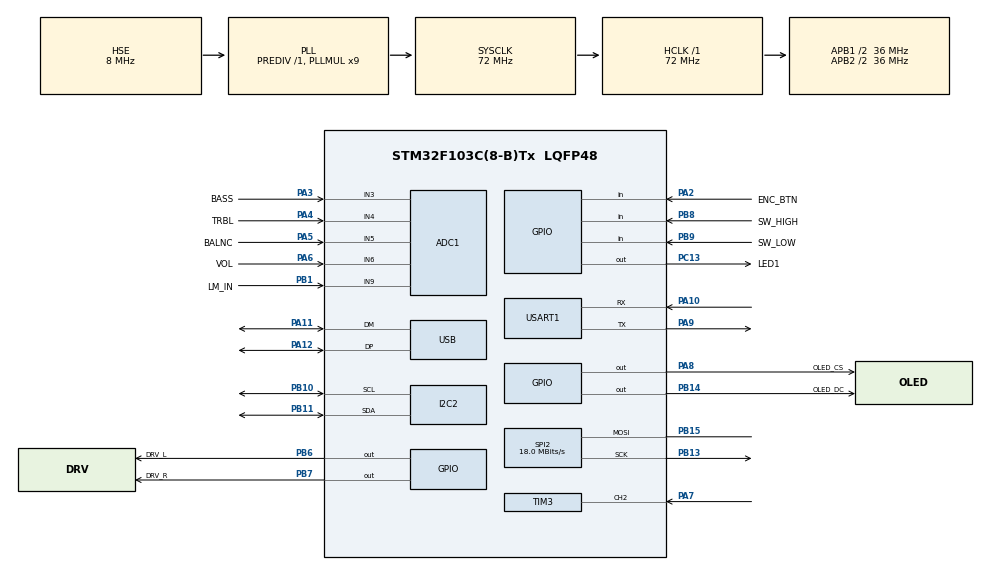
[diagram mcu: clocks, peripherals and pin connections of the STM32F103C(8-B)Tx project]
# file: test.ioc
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ADC1.Channel-0\#ChannelRegularConversion=ADC_CHANNEL_3
ADC1.Channel-1\#ChannelRegularConversion=ADC_CHANNEL_4
ADC1.Channel-2\#ChannelRegularConversion=ADC_CHANNEL_5
ADC1.Channel-3\#ChannelRegularConversion=ADC_CHANNEL_6
ADC1.Channel-4\#ChannelRegularConversion=ADC_CHANNEL_9
ADC1.ContinuousConvMode=ENABLE
ADC1.NbrOfConversion=5
ADC1.NbrOfConversionFlag=1
ADC1.Rank-0\#ChannelRegularConversion=1
ADC1.Rank-1\#ChannelRegularConversion=2
ADC1.Rank-2\#ChannelRegularConversion=3
ADC1.Rank-3\#ChannelRegularConversion=4
ADC1.Rank-4\#ChannelRegularConversion=5
ADC1.SamplingTime-0\#ChannelRegularConversion=ADC_SAMPLETIME_1CYCLE_5
ADC1.SamplingTime-1\#ChannelRegularConversion=ADC_SAMPLETIME_1CYCLE_5
ADC1.SamplingTime-2\#ChannelRegularConversion=ADC_SAMPLETIME_1CYCLE_5
ADC1.SamplingTime-3\#ChannelRegularConversion=ADC_SAMPLETIME_1CYCLE_5
ADC1.SamplingTime-4\#ChannelRegularConversion=ADC_SAMPLETIME_1CYCLE_5
ADC1.master=1
Dma.ADC1.0.Direction=DMA_PERIPH_TO_MEMORY
Dma.ADC1.0.Instance=DMA1_Channel1
Dma.ADC1.0.MemDataAlignment=DMA_MDATAALIGN_HALFWORD
Dma.ADC1.0.MemInc=DMA_MINC_ENABLE
Dma.ADC1.0.Mode=DMA_CIRCULAR
Dma.ADC1.0.PeriphDataAlignment=DMA_PDATAALIGN_HALFWORD
Dma.ADC1.0.PeriphInc=DMA_PINC_DISABLE
Dma.ADC1.0.Priority=DMA_PRIORITY_LOW
Dma.Request0=ADC1
Mcu.Family=STM32F1
Mcu.Name=STM32F103C(8-B)Tx
Mcu.Package=LQFP48
NVIC.DMA1_Channel1_IRQn=true\:0\:0\:false\:false\:true\:false\:true\:true
NVIC.PriorityGroup=NVIC_PRIORITYGROUP_4
NVIC.USB_LP_CAN1_RX0_IRQn=true\:0\:0\:false\:false\:true\:false\:true\:true
PA10.Mode=Asynchronous
PA10.Signal=USART1_RX
PA11.Mode=Device
PA11.Signal=USB_DM
PA12.Mode=Device
PA12.Signal=USB_DP
PA2.GPIO_Label=ENC_BTN
PA2.Signal=GPIO_Input
PA3.GPIO_Label=BASS
PA3.Signal=ADCx_IN3
PA4.GPIO_Label=TRBL
PA4.Signal=ADCx_IN4
PA5.GPIO_Label=BALNC
PA5.Signal=ADCx_IN5
PA6.GPIO_Label=VOL
PA6.Signal=ADCx_IN6
PA7.Signal=S_TIM3_CH2
PA8.GPIO_Label=OLED_CS
PA8.Signal=GPIO_Output
PA9.Mode=Asynchronous
PA9.Signal=USART1_TX
PB1.GPIO_Label=LM_IN
PB1.Signal=ADCx_IN9
PB10.Mode=I2C
PB10.Signal=I2C2_SCL
PB11.Mode=I2C
PB11.Signal=I2C2_SDA
PB13.Mode=Simplex_Bidirectional_Master
PB13.Signal=SPI2_SCK
PB14.GPIO_Label=OLED_DC
PB14.Signal=GPIO_Output
PB15.Mode=Simplex_Bidirectional_Master
PB15.Signal=SPI2_MOSI
PB6.GPIO_Label=DRV_L
PB6.Signal=GPIO_Output
PB7.GPIO_Label=DRV_R
PB7.Signal=GPIO_Output
PB8.GPIO_Label=SW_HIGH
PB8.Signal=GPIO_Input
PB9.GPIO_Label=SW_LOW
PB9.Signal=GPIO_Input
PC13-TAMPER-RTC.GPIO_Label=LED1
PC13-TAMPER-RTC.Signal=GPIO_Output
PC14-OSC32_IN.Mode=LSE-External-Oscillator
PC14-OSC32_IN.Signal=RCC_OSC32_IN
PC15-OSC32_OUT.Mode=LSE-External-Oscillator
PC15-OSC32_OUT.Signal=RCC_OSC32_OUT
PD0-OSC_IN.Mode=HSE-External-Oscillator
PD0-OSC_IN.Signal=RCC_OSC_IN
PD1-OSC_OUT.Mode=HSE-External-Oscillator
PD1-OSC_OUT.Signal=RCC_OSC_OUT
ProjectManager.HeapSize=0x200
ProjectManager.StackSize=0x400
ProjectManager.TargetToolchain=STM32CubeIDE
RCC.ADCPresc=RCC_ADCPCLK2_DIV6
RCC.AHBFreq_Value=72000000
RCC.APB1CLKDivider=RCC_HCLK_DIV2
RCC.APB1Freq_Value=36000000
RCC.APB1TimFreq_Value=72000000
RCC.APB2CLKDivider=RCC_HCLK_DIV2
RCC.APB2Freq_Value=36000000
RCC.APB2TimFreq_Value=72000000
RCC.DATA_CACHE_ENABLE=1
RCC.HCLKFreq_Value=72000000
RCC.INSTRUCTION_CACHE_ENABLE=1
RCC.PLLMUL=RCC_PLL_MUL9
RCC.PLLSourceVirtual=RCC_PLLSOURCE_HSE
RCC.PWR_Regulator_Voltage_Scale=PWR_REGULATOR_VOLTAGE_SCALE1
RCC.SYSCLKFreq_VALUE=72000000
RCC.SYSCLKSource=RCC_SYSCLKSOURCE_PLLCLK
RCC.USBFreq_Value=48000000
RCC.USBPrescaler=RCC_USBCLKSOURCE_PLL_DIV1_5
RTC.Hours=13
RTC.Year=40
SH.ADCx_IN3.0=ADC1_IN3,IN3
SH.ADCx_IN4.0=ADC1_IN4,IN4
SH.ADCx_IN5.0=ADC1_IN5,IN5
SH.ADCx_IN6.0=ADC1_IN6,IN6
SH.ADCx_IN9.0=ADC1_IN9,IN9
SH.S_TIM3_CH2.0=TIM3_CH2,Input_Capture2_from_TI2
SPI2.BaudRatePrescaler=SPI_BAUDRATEPRESCALER_2
SPI2.CalculateBaudRate=18.0 MBits/s
SPI2.Direction=SPI_DIRECTION_1LINE
SPI2.Mode=SPI_MODE_MASTER
SPI2.VirtualType=VM_MASTER
TIM3.Channel-Input_Capture2_from_TI2=TIM_CHANNEL_2
USART1.VirtualMode=VM_ASYNC
USB_DEVICE.CLASS_NAME_FS=CDC
USB_DEVICE.VirtualMode=Cdc
USB_DEVICE.VirtualModeFS=Cdc_FS
VP_RTC_VS_RTC_Activate.Mode=RTC_Enabled
VP_RTC_VS_RTC_Calendar.Mode=RTC_Calendar
VP_TIM3_VS_ClockSourceINT.Mode=Internal
VP_USB_DEVICE_VS_USB_DEVICE_CDC_FS.Mode=CDC_FS
board=custom

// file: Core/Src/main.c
/* USER CODE BEGIN Header */
/**
  ******************************************************************************
  * @file           : main.c
  * @brief          : Main program body
  ******************************************************************************
  * @attention
  *
  * Copyright (c) 2022 STMicroelectronics.
  * All rights reserved.
  *
  * This software is licensed under terms that can be found in the LICENSE file
  * in the root directory of this software component.
  * If no LICENSE file comes with this software, it is provided AS-IS.
  *
  ******************************************************************************
  */
/* USER CODE END Header */
#include "main.h"
#include "usb_device.h"

/* USER CODE BEGIN Includes */
#include <stdio.h>
#include <stdlib.h>
#include "u8g2/clib/u8g2.h"
#include "Audio_256x64.h"

extern uint8_t u8x8_stm32_gpio_and_delay( u8x8_t *u8x8, uint8_t msg, uint8_t arg_int, void *arg_ptr );
extern uint8_t u8x8_byte_stm32_hw_spi( u8x8_t *u8x8, uint8_t msg, uint8_t arg_int, void *arg_ptr );
extern uint8_t u8x8_byte_stm32_hw_i2c( u8x8_t *u8x8, uint8_t msg, uint8_t arg_int, void *arg_ptr );

/* USER CODE END Includes */

/* USER CODE BEGIN PTD */
struct adc_t
{
    uint16_t bass;
    uint16_t trbl;
    uint16_t balc;
    uint16_t volume;
    uint16_t lm_in;
};

volatile struct adc_t adcVal;
/* USER CODE END PTD */

/* USER CODE BEGIN PD */
#define TSA_MIX

#ifdef DB37XX
#define VOL_MIN -80
#define VOL_MAX 15
#define BASS_MIN -20
#define BASS_MAX 20
#define TRBL_MIN -20
#define TRBL_MAX 20
#endif

#ifdef TSA_MIX
#define VOL_MIN -31
#define VOL_MAX 20
#define BASS_MIN -18
#define BASS_MAX 18
#define TRBL_MIN -12
#define TRBL_MAX 12
#endif
/* USER CODE END PD */

ADC_HandleTypeDef hadc1;
DMA_HandleTypeDef hdma_adc1;

I2C_HandleTypeDef hi2c2;

RTC_HandleTypeDef hrtc;

SPI_HandleTypeDef hspi2;

TIM_HandleTypeDef htim3;

UART_HandleTypeDef huart1;

void SystemClock_Config(void);
static void MX_GPIO_Init(void);
static void MX_DMA_Init(void);
static void MX_SPI2_Init(void);
static void MX_USART1_UART_Init(void);
static void MX_ADC1_Init(void);
static void MX_I2C2_Init(void);
static void MX_RTC_Init(void);
static void MX_TIM3_Init(void);

/* USER CODE BEGIN 0 */
int prescaler( long min1, long max1, long min2, long max2, int val ){
    return min2+ (val-min1)* (max2-min2)/ (max1-min1);
}
/* USER CODE END 0 */

int main(void)
{
  /* USER CODE BEGIN 1 */
    uint16_t inc=0;
    char data[20];
//    int Volume=prescaler(0, 2800, VOL_MIN, VOL_MAX, adcVal.volume);
    adcVal.volume =9999;
    RTC_TimeTypeDef sTime={ 0 };
  /* USER CODE END 1 */

  /* MCU Configuration--------------------------------------------------------*/

  /* Reset of all peripherals, Initializes the Flash interface and the Systick. */
  HAL_Init();

  /* Configure the system clock */
  SystemClock_Config();

  /* Initialize all configured peripherals */
  MX_GPIO_Init();
  MX_DMA_Init();
  MX_SPI2_Init();
  MX_USART1_UART_Init();
  MX_ADC1_Init();
  MX_I2C2_Init();
  MX_RTC_Init();
  MX_TIM3_Init();
  MX_USB_DEVICE_Init();
  /* USER CODE BEGIN 2 */
  hdma_adc1.Instance = DMA1_Channel1;
    hdma_adc1.Init.Direction = DMA_PERIPH_TO_MEMORY;
    hdma_adc1.Init.PeriphInc = DMA_PINC_DISABLE;
    hdma_adc1.Init.MemInc = DMA_MINC_ENABLE;
    hdma_adc1.Init.PeriphDataAlignment = DMA_PDATAALIGN_HALFWORD;
    hdma_adc1.Init.MemDataAlignment = DMA_MDATAALIGN_HALFWORD;
    hdma_adc1.Init.Mode = DMA_CIRCULAR;
    hdma_adc1.Init.Priority = DMA_PRIORITY_MEDIUM;
    HAL_DMA_Init(&hdma_adc1);
    __HAL_LINKDMA(&hadc1, DMA_Handle, hdma_adc1);

    HAL_ADCEx_Calibration_Start(&hadc1);
    HAL_ADC_Start_DMA(&hadc1, (uint32_t*)&adcVal, sizeof (adcVal)/sizeof(uint16_t));
//    HAL_ADC_Start(&hadc1);

//    HAL_TIM_Encoder_Start(&htim2, TIM_CHANNEL_ALL);
//    htim2.Instance->CNT=0;

  u8g2_t u8g2;
  u8g2_Setup_ssd1322_nhd_256x64_f(&u8g2, U8G2_R0, u8x8_byte_stm32_hw_spi, u8x8_stm32_gpio_and_delay);
      u8g2_InitDisplay(&u8g2);
      u8g2_ClearDisplay(&u8g2);
      u8g2_SetPowerSave(&u8g2, 0);
  /* USER CODE END 2 */

  /* Infinite loop */
  /* USER CODE BEGIN WHILE */
  while (1)
  {

    HAL_GPIO_WritePin(DRV_L_GPIO_Port, DRV_L_Pin, !HAL_GPIO_ReadPin(SW_LOW_GPIO_Port, SW_LOW_Pin));
    HAL_GPIO_WritePin(DRV_R_GPIO_Port, DRV_R_Pin, !HAL_GPIO_ReadPin(SW_HIGH_GPIO_Port, SW_HIGH_Pin));
//    HAL_Delay(20);
    if (!(inc++ %500)){
        HAL_GPIO_TogglePin(LED1_GPIO_Port, LED1_Pin);
    }

//    if (HAL_ADC_PollForConversion(&hadc1, 10) == HAL_OK) {
//        adcVal.volume  = HAL_ADC_GetValue(&hadc1);
//        HAL_ADC_Start(&hadc1);
//    }else
//        adcVal.volume = 6666;
    u8g2_FirstPage(&u8g2);
    do{
        u8g2_ClearBuffer(&u8g2);
        u8g2_SetBitmapMode(&u8g2, 2);
        //u8g2_SetDrawColor(&u8g2, 1);
        if(GPIO_PIN_RESET==HAL_GPIO_ReadPin(ENC_BTN_GPIO_Port, ENC_BTN_Pin)){
            u8g2_DrawXBM(&u8g2, 0, 0, Audio_256x64_width, Audio_256x64_height, (const uint8_t*)&Audio_256x64_bits);
        }
        u8g2_SetFont(&u8g2, u8g2_font_VCR_OSD_tf);

//        Volume=prescaler(0, 2800, VOL_MIN, VOL_MAX, adcVal.volume);
//        sprintf(data, "VOL=%+ddB", Volume);
        sprintf(data, "V=%d", adcVal.volume);
        u8g2_DrawStr(&u8g2, 28, 64, data);

//        sprintf(data, "BASS=%+ddB", prescaler(0, 3850, BASS_MAX, BASS_MIN, adcVal.bass));
        sprintf(data, "BASS=%+ddB", adcVal.bass);
        u8g2_DrawStr(&u8g2, 0, 48, data);
        sprintf(data, "TRBL=%+ddB", prescaler(0, 3850, TRBL_MAX, TRBL_MIN, adcVal.trbl));
        u8g2_DrawStr(&u8g2, 128, 48, data);

//                    sprintf(data, "ENC=%d", (int)(TIM2->CNT>>1));
//                    u8g2_DrawStr(&u8g2, 0, 32, data);

        HAL_RTC_GetTime(&hrtc, &sTime, RTC_FORMAT_BIN);
        sprintf(data, "%02d:%02d:%02d", sTime.Hours, sTime.Minutes, sTime.Seconds);
        u8g2_DrawStr(&u8g2, 150, 64, data);

        }while ( u8g2_NextPage(&u8g2) );
        HAL_Delay(1);

        //    uint8_t data[] = {0x55,0x0F,0xAA};
        //    HAL_SPI_Transmit(&hspi2, (uint8_t*)&data, 3, 3000);
    /* USER CODE END WHILE */

  }
}

void SystemClock_Config(void)
{
  RCC_OscInitTypeDef RCC_OscInitStruct = {0};
  RCC_ClkInitTypeDef RCC_ClkInitStruct = {0};
  RCC_PeriphCLKInitTypeDef PeriphClkInit = {0};

  /** Initializes the RCC Oscillators according to the specified parameters
  * in the RCC_OscInitTypeDef structure.
  */
  RCC_OscInitStruct.OscillatorType = RCC_OSCILLATORTYPE_LSI|RCC_OSCILLATORTYPE_HSE;
  RCC_OscInitStruct.HSEState = RCC_HSE_ON;
  RCC_OscInitStruct.HSEPredivValue = RCC_HSE_PREDIV_DIV1;
  RCC_OscInitStruct.HSIState = RCC_HSI_ON;
  RCC_OscInitStruct.LSIState = RCC_LSI_ON;
  RCC_OscInitStruct.PLL.PLLState = RCC_PLL_ON;
  RCC_OscInitStruct.PLL.PLLSource = RCC_PLLSOURCE_HSE;
  RCC_OscInitStruct.PLL.PLLMUL = RCC_PLL_MUL9;
  if (HAL_RCC_OscConfig(&RCC_OscInitStruct) != HAL_OK)
  {
    Error_Handler();
  }

  /** Initializes the CPU, AHB and APB buses clocks
  */
  RCC_ClkInitStruct.ClockType = RCC_CLOCKTYPE_HCLK|RCC_CLOCKTYPE_SYSCLK
                              |RCC_CLOCKTYPE_PCLK1|RCC_CLOCKTYPE_PCLK2;
  RCC_ClkInitStruct.SYSCLKSource = RCC_SYSCLKSOURCE_PLLCLK;
  RCC_ClkInitStruct.AHBCLKDivider = RCC_SYSCLK_DIV1;
  RCC_ClkInitStruct.APB1CLKDivider = RCC_HCLK_DIV2;
  RCC_ClkInitStruct.APB2CLKDivider = RCC_HCLK_DIV2;

  if (HAL_RCC_ClockConfig(&RCC_ClkInitStruct, FLASH_LATENCY_2) != HAL_OK)
  {
    Error_Handler();
  }
  PeriphClkInit.PeriphClockSelection = RCC_PERIPHCLK_RTC|RCC_PERIPHCLK_ADC
                              |RCC_PERIPHCLK_USB;
  PeriphClkInit.RTCClockSelection = RCC_RTCCLKSOURCE_LSI;
  PeriphClkInit.AdcClockSelection = RCC_ADCPCLK2_DIV6;
  PeriphClkInit.UsbClockSelection = RCC_USBCLKSOURCE_PLL_DIV1_5;
  if (HAL_RCCEx_PeriphCLKConfig(&PeriphClkInit) != HAL_OK)
  {
    Error_Handler();
  }
}

static void MX_ADC1_Init(void)
{

  ADC_ChannelConfTypeDef sConfig = {0};

  /** Common config
  */
  hadc1.Instance = ADC1;
  hadc1.Init.ScanConvMode = ADC_SCAN_ENABLE;
  hadc1.Init.ContinuousConvMode = ENABLE;
  hadc1.Init.DiscontinuousConvMode = DISABLE;
  hadc1.Init.ExternalTrigConv = ADC_SOFTWARE_START;
  hadc1.Init.DataAlign = ADC_DATAALIGN_RIGHT;
  hadc1.Init.NbrOfConversion = 5;
  if (HAL_ADC_Init(&hadc1) != HAL_OK)
  {
    Error_Handler();
  }

  /** Configure Regular Channel
  */
  sConfig.Channel = ADC_CHANNEL_3;
  sConfig.Rank = ADC_REGULAR_RANK_1;
  sConfig.SamplingTime = ADC_SAMPLETIME_1CYCLE_5;
  if (HAL_ADC_ConfigChannel(&hadc1, &sConfig) != HAL_OK)
  {
    Error_Handler();
  }

  /** Configure Regular Channel
  */
  sConfig.Channel = ADC_CHANNEL_4;
  sConfig.Rank = ADC_REGULAR_RANK_2;
  if (HAL_ADC_ConfigChannel(&hadc1, &sConfig) != HAL_OK)
  {
    Error_Handler();
  }

  /** Configure Regular Channel
  */
  sConfig.Channel = ADC_CHANNEL_5;
  sConfig.Rank = ADC_REGULAR_RANK_3;
  if (HAL_ADC_ConfigChannel(&hadc1, &sConfig) != HAL_OK)
  {
    Error_Handler();
  }

  /** Configure Regular Channel
  */
  sConfig.Channel = ADC_CHANNEL_6;
  sConfig.Rank = ADC_REGULAR_RANK_4;
  if (HAL_ADC_ConfigChannel(&hadc1, &sConfig) != HAL_OK)
  {
    Error_Handler();
  }

  /** Configure Regular Channel
  */
  sConfig.Channel = ADC_CHANNEL_9;
  sConfig.Rank = ADC_REGULAR_RANK_5;
  if (HAL_ADC_ConfigChannel(&hadc1, &sConfig) != HAL_OK)
  {
    Error_Handler();
  }

}

static void MX_I2C2_Init(void)
{

  hi2c2.Instance = I2C2;
  hi2c2.Init.ClockSpeed = 100000;
  hi2c2.Init.DutyCycle = I2C_DUTYCYCLE_2;
  hi2c2.Init.OwnAddress1 = 0;
  hi2c2.Init.AddressingMode = I2C_ADDRESSINGMODE_7BIT;
  hi2c2.Init.DualAddressMode = I2C_DUALADDRESS_DISABLE;
  hi2c2.Init.OwnAddress2 = 0;
  hi2c2.Init.GeneralCallMode = I2C_GENERALCALL_DISABLE;
  hi2c2.Init.NoStretchMode = I2C_NOSTRETCH_DISABLE;
  if (HAL_I2C_Init(&hi2c2) != HAL_OK)
  {
    Error_Handler();
  }

}

static void MX_RTC_Init(void)
{

  RTC_TimeTypeDef sTime = {0};
  RTC_DateTypeDef DateToUpdate = {0};

  /** Initialize RTC Only
  */
  hrtc.Instance = RTC;
  hrtc.Init.AsynchPrediv = RTC_AUTO_1_SECOND;
  hrtc.Init.OutPut = RTC_OUTPUTSOURCE_ALARM;
  if (HAL_RTC_Init(&hrtc) != HAL_OK)
  {
    Error_Handler();
  }

  /** Initialize RTC and set the Time and Date
  */
  sTime.Hours = 0x13;
  sTime.Minutes = 0x0;
  sTime.Seconds = 0x0;

  if (HAL_RTC_SetTime(&hrtc, &sTime, RTC_FORMAT_BCD) != HAL_OK)
  {
    Error_Handler();
  }
  DateToUpdate.WeekDay = RTC_WEEKDAY_MONDAY;
  DateToUpdate.Month = RTC_MONTH_JANUARY;
  DateToUpdate.Date = 0x1;
  DateToUpdate.Year = 0x40;

  if (HAL_RTC_SetDate(&hrtc, &DateToUpdate, RTC_FORMAT_BCD) != HAL_OK)
  {
    Error_Handler();
  }

}

static void MX_SPI2_Init(void)
{

  /* SPI2 parameter configuration*/
  hspi2.Instance = SPI2;
  hspi2.Init.Mode = SPI_MODE_MASTER;
  hspi2.Init.Direction = SPI_DIRECTION_1LINE;
  hspi2.Init.DataSize = SPI_DATASIZE_8BIT;
  hspi2.Init.CLKPolarity = SPI_POLARITY_LOW;
  hspi2.Init.CLKPhase = SPI_PHASE_1EDGE;
  hspi2.Init.NSS = SPI_NSS_SOFT;
  hspi2.Init.BaudRatePrescaler = SPI_BAUDRATEPRESCALER_2;
  hspi2.Init.FirstBit = SPI_FIRSTBIT_MSB;
  hspi2.Init.TIMode = SPI_TIMODE_DISABLE;
  hspi2.Init.CRCCalculation = SPI_CRCCALCULATION_DISABLE;
  hspi2.Init.CRCPolynomial = 10;
  if (HAL_SPI_Init(&hspi2) != HAL_OK)
  {
    Error_Handler();
  }

}

static void MX_TIM3_Init(void)
{

  TIM_ClockConfigTypeDef sClockSourceConfig = {0};
  TIM_MasterConfigTypeDef sMasterConfig = {0};
  TIM_IC_InitTypeDef sConfigIC = {0};

  htim3.Instance = TIM3;
  htim3.Init.Prescaler = 0;
  htim3.Init.CounterMode = TIM_COUNTERMODE_UP;
  htim3.Init.Period = 65535;
  htim3.Init.ClockDivision = TIM_CLOCKDIVISION_DIV1;
  htim3.Init.AutoReloadPreload = TIM_AUTORELOAD_PRELOAD_DISABLE;
  if (HAL_TIM_Base_Init(&htim3) != HAL_OK)
  {
    Error_Handler();
  }
  sClockSourceConfig.ClockSource = TIM_CLOCKSOURCE_INTERNAL;
  if (HAL_TIM_ConfigClockSource(&htim3, &sClockSourceConfig) != HAL_OK)
  {
    Error_Handler();
  }
  if (HAL_TIM_IC_Init(&htim3) != HAL_OK)
  {
    Error_Handler();
  }
  sMasterConfig.MasterOutputTrigger = TIM_TRGO_RESET;
  sMasterConfig.MasterSlaveMode = TIM_MASTERSLAVEMODE_DISABLE;
  if (HAL_TIMEx_MasterConfigSynchronization(&htim3, &sMasterConfig) != HAL_OK)
  {
    Error_Handler();
  }
  sConfigIC.ICPolarity = TIM_INPUTCHANNELPOLARITY_RISING;
  sConfigIC.ICSelection = TIM_ICSELECTION_DIRECTTI;
  sConfigIC.ICPrescaler = TIM_ICPSC_DIV1;
  sConfigIC.ICFilter = 0;
  if (HAL_TIM_IC_ConfigChannel(&htim3, &sConfigIC, TIM_CHANNEL_2) != HAL_OK)
  {
    Error_Handler();
  }

}

static void MX_USART1_UART_Init(void)
{

  huart1.Instance = USART1;
  huart1.Init.BaudRate = 115200;
  huart1.Init.WordLength = UART_WORDLENGTH_8B;
  huart1.Init.StopBits = UART_STOPBITS_1;
  huart1.Init.Parity = UART_PARITY_NONE;
  huart1.Init.Mode = UART_MODE_TX_RX;
  huart1.Init.HwFlowCtl = UART_HWCONTROL_NONE;
  huart1.Init.OverSampling = UART_OVERSAMPLING_16;
  if (HAL_UART_Init(&huart1) != HAL_OK)
  {
    Error_Handler();
  }

}

static void MX_DMA_Init(void)
{

  /* DMA controller clock enable */
  __HAL_RCC_DMA1_CLK_ENABLE();

  /* DMA interrupt init */
  /* DMA1_Channel1_IRQn interrupt configuration */
  HAL_NVIC_SetPriority(DMA1_Channel1_IRQn, 0, 0);
  HAL_NVIC_EnableIRQ(DMA1_Channel1_IRQn);

}

static void MX_GPIO_Init(void)
{
  GPIO_InitTypeDef GPIO_InitStruct = {0};

  /* GPIO Ports Clock Enable */
  __HAL_RCC_GPIOC_CLK_ENABLE();
  __HAL_RCC_GPIOD_CLK_ENABLE();
  __HAL_RCC_GPIOA_CLK_ENABLE();
  __HAL_RCC_GPIOB_CLK_ENABLE();

  /*Configure GPIO pin Output Level */
  HAL_GPIO_WritePin(LED1_GPIO_Port, LED1_Pin, GPIO_PIN_RESET);

  /*Configure GPIO pin Output Level */
  HAL_GPIO_WritePin(GPIOB, OLED_DC_Pin|DRV_L_Pin|DRV_R_Pin, GPIO_PIN_RESET);

  /*Configure GPIO pin Output Level */
  HAL_GPIO_WritePin(OLED_CS_GPIO_Port, OLED_CS_Pin, GPIO_PIN_RESET);

  /*Configure GPIO pin : LED1_Pin */
  GPIO_InitStruct.Pin = LED1_Pin;
  GPIO_InitStruct.Mode = GPIO_MODE_OUTPUT_PP;
  GPIO_InitStruct.Pull = GPIO_NOPULL;
  GPIO_InitStruct.Speed = GPIO_SPEED_FREQ_LOW;
  HAL_GPIO_Init(LED1_GPIO_Port, &GPIO_InitStruct);

  /*Configure GPIO pin : ENC_BTN_Pin */
  GPIO_InitStruct.Pin = ENC_BTN_Pin;
  GPIO_InitStruct.Mode = GPIO_MODE_INPUT;
  GPIO_InitStruct.Pull = GPIO_NOPULL;
  HAL_GPIO_Init(ENC_BTN_GPIO_Port, &GPIO_InitStruct);

  /*Configure GPIO pins : OLED_DC_Pin DRV_L_Pin DRV_R_Pin */
  GPIO_InitStruct.Pin = OLED_DC_Pin|DRV_L_Pin|DRV_R_Pin;
  GPIO_InitStruct.Mode = GPIO_MODE_OUTPUT_PP;
  GPIO_InitStruct.Pull = GPIO_NOPULL;
  GPIO_InitStruct.Speed = GPIO_SPEED_FREQ_LOW;
  HAL_GPIO_Init(GPIOB, &GPIO_InitStruct);

  /*Configure GPIO pin : OLED_CS_Pin */
  GPIO_InitStruct.Pin = OLED_CS_Pin;
  GPIO_InitStruct.Mode = GPIO_MODE_OUTPUT_PP;
  GPIO_InitStruct.Pull = GPIO_NOPULL;
  GPIO_InitStruct.Speed = GPIO_SPEED_FREQ_LOW;
  HAL_GPIO_Init(OLED_CS_GPIO_Port, &GPIO_InitStruct);

  /*Configure GPIO pins : SW_HIGH_Pin SW_LOW_Pin */
  GPIO_InitStruct.Pin = SW_HIGH_Pin|SW_LOW_Pin;
  GPIO_InitStruct.Mode = GPIO_MODE_INPUT;
  GPIO_InitStruct.Pull = GPIO_NOPULL;
  HAL_GPIO_Init(GPIOB, &GPIO_InitStruct);

}

void Error_Handler(void)
{
  __disable_irq();
  while (1)
  {
  }
}
